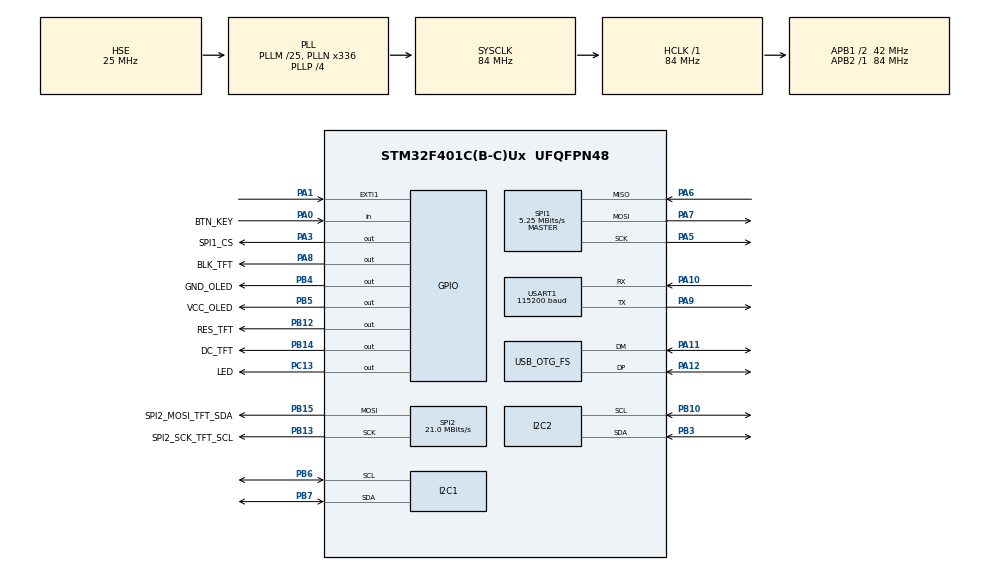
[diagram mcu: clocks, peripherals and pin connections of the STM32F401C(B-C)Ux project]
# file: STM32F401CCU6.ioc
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Dma.I2C1_TX.0.Direction=DMA_MEMORY_TO_PERIPH
Dma.I2C1_TX.0.FIFOMode=DMA_FIFOMODE_DISABLE
Dma.I2C1_TX.0.Instance=DMA1_Stream6
Dma.I2C1_TX.0.MemDataAlignment=DMA_MDATAALIGN_BYTE
Dma.I2C1_TX.0.MemInc=DMA_MINC_ENABLE
Dma.I2C1_TX.0.Mode=DMA_NORMAL
Dma.I2C1_TX.0.PeriphDataAlignment=DMA_PDATAALIGN_BYTE
Dma.I2C1_TX.0.PeriphInc=DMA_PINC_DISABLE
Dma.I2C1_TX.0.Priority=DMA_PRIORITY_LOW
Dma.Request0=I2C1_TX
Dma.Request1=USART1_TX
Dma.USART1_TX.1.Direction=DMA_MEMORY_TO_PERIPH
Dma.USART1_TX.1.FIFOMode=DMA_FIFOMODE_DISABLE
Dma.USART1_TX.1.Instance=DMA2_Stream7
Dma.USART1_TX.1.MemDataAlignment=DMA_MDATAALIGN_BYTE
Dma.USART1_TX.1.MemInc=DMA_MINC_ENABLE
Dma.USART1_TX.1.Mode=DMA_NORMAL
Dma.USART1_TX.1.PeriphDataAlignment=DMA_PDATAALIGN_BYTE
Dma.USART1_TX.1.PeriphInc=DMA_PINC_DISABLE
Dma.USART1_TX.1.Priority=DMA_PRIORITY_MEDIUM
FATFS._CODE_PAGE=855
FATFS._MAX_SS=4096
FATFS._USE_LFN=3
FREERTOS.HEAP_NUMBER=4
FREERTOS.Tasks01=defaultTask,24,512,StartDefaultTask,Default,NULL,Dynamic,NULL,NULL;Task_1ms,24,512,Task_1ms_handler,Default,NULL,Dynamic,NULL,NULL;Task_10ms,24,1024,Task_10ms_handler,Default,NULL,Dynamic,NULL,NULL;Task_50ms,24,512,Task_50ms_handler,Default,NULL,Dynamic,NULL,NULL;Usart1Rx,24,512,Usart1Rx_handler,Default,NULL,Dynamic,NULL,NULL
FREERTOS.configENABLE_FPU=1
FREERTOS.configTOTAL_HEAP_SIZE=16384
FREERTOS.configUSE_NEWLIB_REENTRANT=1
I2C1.DutyCycle=I2C_DUTYCYCLE_16_9
I2C1.I2C_Mode=I2C_Fast
I2C2.I2C_Mode=I2C_Fast
Mcu.Family=STM32F4
Mcu.Name=STM32F401C(B-C)Ux
Mcu.Package=UFQFPN48
NVIC.DMA1_Stream6_IRQn=true\:5\:0\:false\:false\:true\:true\:false\:true
NVIC.DMA2_Stream7_IRQn=true\:5\:0\:false\:false\:true\:true\:false\:true
NVIC.EXTI1_IRQn=true\:5\:0\:false\:true\:true\:1\:true\:true\:true
NVIC.I2C1_ER_IRQn=true\:5\:0\:false\:false\:true\:true\:true\:true
NVIC.I2C1_EV_IRQn=true\:5\:0\:false\:false\:true\:true\:true\:true
NVIC.I2C2_EV_IRQn=true\:5\:0\:false\:false\:true\:true\:true\:true
NVIC.OTG_FS_IRQn=true\:5\:0\:false\:false\:true\:true\:false\:true
NVIC.PriorityGroup=NVIC_PRIORITYGROUP_4
NVIC.SPI2_IRQn=true\:5\:0\:false\:false\:true\:true\:true\:true
NVIC.TIM1_UP_TIM10_IRQn=true\:0\:0\:false\:false\:true\:false\:false\:true
NVIC.TIM2_IRQn=true\:5\:0\:false\:false\:true\:true\:true\:true
NVIC.TimeBase=TIM1_UP_TIM10_IRQn
NVIC.TimeBaseIP=TIM1
NVIC.USART1_IRQn=true\:5\:0\:false\:false\:true\:true\:true\:true
PA0-WKUP.GPIO_Label=BTN_KEY
PA0-WKUP.Signal=GPIO_Input
PA1.Signal=GPXTI1
PA10.Mode=Asynchronous
PA10.Signal=USART1_RX
PA11.Mode=Device_Only
PA11.Signal=USB_OTG_FS_DM
PA12.Mode=Device_Only
PA12.Signal=USB_OTG_FS_DP
PA13.Mode=Serial_Wire
PA13.Signal=SYS_JTMS-SWDIO
PA14.Mode=Serial_Wire
PA14.Signal=SYS_JTCK-SWCLK
PA2.Signal=S_TIM9_CH1
PA3.GPIO_Label=SPI1_CS
PA3.GPIO_Speed=GPIO_SPEED_FREQ_MEDIUM
PA3.Signal=GPIO_Output
PA5.Mode=Full_Duplex_Master
PA5.Signal=SPI1_SCK
PA6.Mode=Full_Duplex_Master
PA6.Signal=SPI1_MISO
PA7.Mode=Full_Duplex_Master
PA7.Signal=SPI1_MOSI
PA8.GPIO_Label=BLK_TFT
PA8.Signal=GPIO_Output
PA9.Mode=Asynchronous
PA9.Signal=USART1_TX
PB10.GPIO_Pu=GPIO_PULLUP
PB10.Mode=I2C
PB10.Signal=I2C2_SCL
PB12.GPIO_Label=RES_TFT
PB12.PinState=GPIO_PIN_SET
PB12.Signal=GPIO_Output
PB13.GPIO_Label=SPI2_SCK_TFT_SCL
PB13.Mode=TX_Only_Simplex_Unidirect_Master
PB13.Signal=SPI2_SCK
PB14.GPIO_Label=DC_TFT
PB14.Signal=GPIO_Output
PB15.GPIO_Label=SPI2_MOSI_TFT_SDA
PB15.Mode=TX_Only_Simplex_Unidirect_Master
PB15.Signal=SPI2_MOSI
PB3.GPIO_Pu=GPIO_PULLUP
PB3.Mode=I2C
PB3.Signal=I2C2_SDA
PB4.GPIO_Label=GND_OLED
PB4.Signal=GPIO_Output
PB5.GPIO_Label=VCC_OLED
PB5.PinState=GPIO_PIN_SET
PB5.Signal=GPIO_Output
PB6.GPIO_Pu=GPIO_PULLUP
PB6.Mode=I2C
PB6.Signal=I2C1_SCL
PB7.GPIO_Pu=GPIO_PULLUP
PB7.Mode=I2C
PB7.Signal=I2C1_SDA
PC13-ANTI_TAMP.GPIO_Label=LED
PC13-ANTI_TAMP.Signal=GPIO_Output
PC14-OSC32_IN.Mode=LSE-External-Oscillator
PC14-OSC32_IN.Signal=RCC_OSC32_IN
PC15-OSC32_OUT.Mode=LSE-External-Oscillator
PC15-OSC32_OUT.Signal=RCC_OSC32_OUT
PH0\ -\ OSC_IN.Mode=HSE-External-Oscillator
PH0\ -\ OSC_IN.Signal=RCC_OSC_IN
PH1\ -\ OSC_OUT.Mode=HSE-External-Oscillator
PH1\ -\ OSC_OUT.Signal=RCC_OSC_OUT
ProjectManager.HeapSize=0x400
ProjectManager.StackSize=0x800
ProjectManager.TargetToolchain=STM32CubeIDE
RCC.48MHZClocksFreq_Value=48000000
RCC.AHBFreq_Value=84000000
RCC.APB1CLKDivider=RCC_HCLK_DIV2
RCC.APB1Freq_Value=42000000
RCC.APB1TimFreq_Value=84000000
RCC.APB2Freq_Value=84000000
RCC.APB2TimFreq_Value=84000000
RCC.CortexFreq_Value=84000000
RCC.HCLKFreq_Value=84000000
RCC.HSE_Timout=1000
RCC.HSE_VALUE=25000000
RCC.HSI_VALUE=16000000
RCC.LSE_Timout=10000
RCC.PLLM=25
RCC.PLLN=336
RCC.PLLP=RCC_PLLP_DIV4
RCC.PLLQ=7
RCC.RCC_RTC_Clock_Source=RCC_RTCCLKSOURCE_HSE_DIV25
RCC.RCC_RTC_Clock_SourceVirtual=RCC_RTCCLKSOURCE_LSE
RCC.RCC_RTC_Clock_Source_FROM_HSE=RCC_RTCCLKSOURCE_HSE_DIV25
RCC.SYSCLKFreq_VALUE=84000000
RCC.SYSCLKSource=RCC_SYSCLKSOURCE_PLLCLK
RCC.VCOOutputFreq_Value=336000000
RTC.Format=RTC_FORMAT_BIN
RTC.SynchPrediv=7777
SH.S_TIM9_CH1.0=TIM9_CH1
SPI1.BaudRatePrescaler=SPI_BAUDRATEPRESCALER_16
SPI1.CalculateBaudRate=5.25 MBits/s
SPI1.Direction=SPI_DIRECTION_2LINES
SPI1.Mode=SPI_MODE_MASTER
SPI1.VirtualType=VM_MASTER
SPI2.BaudRatePrescaler=SPI_BAUDRATEPRESCALER_2
SPI2.CLKPhase=SPI_PHASE_2EDGE
SPI2.CLKPolarity=SPI_POLARITY_HIGH
SPI2.CalculateBaudRate=21.0 MBits/s
SPI2.DataSize=SPI_DATASIZE_8BIT
SPI2.Direction=SPI_DIRECTION_2LINES
SPI2.FirstBit=SPI_FIRSTBIT_MSB
SPI2.Mode=SPI_MODE_MASTER
SPI2.VirtualType=VM_MASTER
TIM2.Period=5
TIM2.Prescaler=41999
USART1.BaudRate=115200
USART1.VirtualMode=VM_ASYNC
USB_DEVICE.CLASS_NAME_FS=CDC
USB_DEVICE.VirtualMode=Cdc
USB_DEVICE.VirtualModeFS=Cdc_FS
USB_OTG_FS.VirtualMode=Device_Only
VP_FATFS_VS_Generic.Mode=User_defined
VP_FREERTOS_VS_CMSIS_V2.Mode=CMSIS_V2
VP_RTC_VS_RTC_Activate.Mode=RTC_Enabled
VP_RTC_VS_RTC_Calendar.Mode=RTC_Calendar
VP_SYS_VS_tim1.Mode=TIM1
VP_TIM2_VS_ClockSourceINT.Mode=Internal
VP_USB_DEVICE_VS_USB_DEVICE_CDC_FS.Mode=CDC_FS
board=custom

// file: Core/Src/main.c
/* USER CODE BEGIN Header */
/**
 ******************************************************************************
 * @file           : main.c
 * @brief          : Main program body
 ******************************************************************************
 * @attention
 *
 * <h2><center>&copy; Copyright (c) 2021 STMicroelectronics.
 * All rights reserved.</center></h2>
 *
 * This software component is licensed by ST under BSD 3-Clause license,
 * the "License"; You may not use this file except in compliance with the
 * License. You may obtain a copy of the License at:
 *                        opensource.org/licenses/BSD-3-Clause
 *
 ******************************************************************************
 */
/* USER CODE END Header */
#include "main.h"
#include "cmsis_os.h"
#include "fatfs.h"
#include "usb_device.h"

/* USER CODE BEGIN Includes */
#include "task.h"
#include "ssd1306.h"
#include "image.h"
#include "stdio.h"
#include "string.h"
#include "math.h"
#include "bmp280.h"
#include "sd.h"
#include "usart_ring.h"
#include "usbd_cdc_if.h"
#include "st7789.h"
/* USER CODE END Includes */

/* USER CODE BEGIN PD */
#define SIZE_BF 32
/* USER CODE END PD */

I2C_HandleTypeDef hi2c1;
I2C_HandleTypeDef hi2c2;
DMA_HandleTypeDef hdma_i2c1_tx;

RTC_HandleTypeDef hrtc;

SPI_HandleTypeDef hspi1;
SPI_HandleTypeDef hspi2;

TIM_HandleTypeDef htim2;

UART_HandleTypeDef huart1;
DMA_HandleTypeDef hdma_usart1_tx;

/* Definitions for defaultTask */
osThreadId_t defaultTaskHandle;
const osThreadAttr_t defaultTask_attributes = {
  .name = "defaultTask",
  .stack_size = 512 * 4,
  .priority = (osPriority_t) osPriorityNormal,
};
/* Definitions for Task_1ms */
osThreadId_t Task_1msHandle;
const osThreadAttr_t Task_1ms_attributes = {
  .name = "Task_1ms",
  .stack_size = 512 * 4,
  .priority = (osPriority_t) osPriorityNormal,
};
/* Definitions for Task_10ms */
osThreadId_t Task_10msHandle;
const osThreadAttr_t Task_10ms_attributes = {
  .name = "Task_10ms",
  .stack_size = 1024 * 4,
  .priority = (osPriority_t) osPriorityNormal,
};
/* Definitions for Task_50ms */
osThreadId_t Task_50msHandle;
const osThreadAttr_t Task_50ms_attributes = {
  .name = "Task_50ms",
  .stack_size = 512 * 4,
  .priority = (osPriority_t) osPriorityNormal,
};
/* Definitions for Usart1Rx */
osThreadId_t Usart1RxHandle;
const osThreadAttr_t Usart1Rx_attributes = {
  .name = "Usart1Rx",
  .stack_size = 512 * 4,
  .priority = (osPriority_t) osPriorityNormal,
};
/* USER CODE BEGIN PV */
uint32_t task1msCnt = 0;
uint32_t task10msCnt = 0;
uint32_t task50msCnt = 0;
uint8_t b1;

_Bool flag, btnPressed;
unsigned long t;
int val;
char* buffer;
uint8_t dataReceived=0;
uint8_t dataTransmitted=0;
int posScanLine = 6;
char* error_mesage = "";
char message[100];
int i = 0;
char* p;

//RTC
RTC_TimeTypeDef sTime = {0};
RTC_DateTypeDef sDate = {0};
char trans_str[64] = {0,};

RTC_TimeTypeDef time;
RTC_DateTypeDef date;
HAL_StatusTypeDef res;
int hour, min, sec,subsec;
int dateRTC, monthRTC, yearRTC, dayOfWeek;

//BMP280
BMP280_HandleTypedef bmp280;
float pressure, temperature, humidity;
uint16_t size;
uint8_t Data[256];
bool bme280p, isForced;

//Универсальная газовая постоянная
float R = 8.31446261815324f;
//Молярная масса воздуха
float M = 28.96f;
//Ускорение свободного падения
float g = 9.8066f;
//Давление на уровне моря
float Po = 760.0f;
float Pmm = 0;
float h = 0;
//Переменная для подсчета ошибок чтения датчика
int errorCount = 0;
//PWM on A0
uint32_t iPWM = 37000;

//Переменные для использования microSD
volatile uint16_t Timer1=0;
//Ответ от СД карты
int sd_answer = 0;
//Масив куда сохраняем данные из блока
uint8_t sect[512];
extern char str1[60];
uint32_t byteswritten,bytesread;
uint8_t result;
extern char USERPath[4]; /* logical drive path */
FATFS SDFatFs;
FATFS *fs;
FIL MyFile;
//Массив для записи на MicroSD
//char buffer1[512] ="Lorem ipsum dolor sit amet, consectetur adipiscing elit. Cras tincidunt, ipsum et ullamcorper fermentum, turpis urna feugiat orci, ac aliquam ligula eros id est. Etiam vitae placerat est. Donec eget mauris odio. Donec nisl ipsum, tincidunt a convallis ut, sagittis et velit. Sed suscipit velit velit, sed tristique lacus tincidunt id. Aliquam ullamcorper nulla nec nunc dictum, eu maximus enim aliquam. Sed eleifend consequat diam non ultrices. Morbi porta quis turpis vitae sodales. Donec a porta urna pharetra.";
uint16_t i_for_SD;
char buf[32] ={};
int len = 0;
int dataFromUART = 0;
FRESULT resWriteFile; //результат выполнения
uint8_t wtext[] = "Hello from STM32!!!";//то что будем писать
uint8_t myTextForWrite[] = "It`s works! Привет!";

//список файлов и каталогов на микросд
FILINFO fileInfo;
char* fn;
DIR dir;
DWORD fre_clust, fre_sect, tot_sect;

//Файл лога
char* logFile = "log.log";
//Переменные для работы со временем
_Bool time_setting_mode = false;
_Bool showingTime = false;
_Bool logOn = false;
typedef struct{
	int year, month, day, hour, min, sec, dayOfWeek;
}TimeForSet;

char temperatureString[50];
char dateTempPlesureString[100];

//кнопка KEY
bool btnKeyState = false;

//USB Virtual COM-port
char str_tx[21];
bool SendToUSBvirtualPort = false;

//переменная для вывода приемного буфера на экран
char lastRX[32] = {0,};

/* USER CODE END PV */

void SystemClock_Config(void);
static void MX_GPIO_Init(void);
static void MX_DMA_Init(void);
static void MX_I2C1_Init(void);
static void MX_USART1_UART_Init(void);
static void MX_RTC_Init(void);
static void MX_I2C2_Init(void);
static void MX_TIM2_Init(void);
static void MX_SPI1_Init(void);
static void MX_SPI2_Init(void);
void StartDefaultTask(void *argument);
void Task_1ms_handler(void *argument);
void Task_10ms_handler(void *argument);
void Task_50ms_handler(void *argument);
void Usart1Rx_handler(void *argument);

static void MX_NVIC_Init(void);

/* USER CODE BEGIN 0 */

/* Usart1Tx function */
void Usart1Tx()
{
	/* USER CODE BEGIN Usart1Tx */

}

int _write(int file, char *ptr, int len)
{
	while (HAL_UART_GetState(&huart1) != HAL_UART_STATE_READY ){

	}
	HAL_UART_Transmit(&huart1, (uint8_t *) ptr, len, HAL_MAX_DELAY);
	return len;
}

/* USER CODE END 0 */

int main(void)
{

  /* MCU Configuration--------------------------------------------------------*/

  /* Reset of all peripherals, Initializes the Flash interface and the Systick. */
  HAL_Init();

  /* Configure the system clock */
  SystemClock_Config();

  /* Initialize all configured peripherals */
  MX_GPIO_Init();
  MX_DMA_Init();
  MX_I2C1_Init();
  MX_USART1_UART_Init();
  MX_RTC_Init();
  MX_I2C2_Init();
  MX_TIM2_Init();
  MX_SPI1_Init();
  MX_FATFS_Init();
  MX_SPI2_Init();

  /* Initialize interrupts */
  MX_NVIC_Init();

  /* Init scheduler */
  osKernelInitialize();

  /* Create the thread(s) */
  /* creation of defaultTask */
  defaultTaskHandle = osThreadNew(StartDefaultTask, NULL, &defaultTask_attributes);

  /* creation of Task_1ms */
  Task_1msHandle = osThreadNew(Task_1ms_handler, NULL, &Task_1ms_attributes);

  /* creation of Task_10ms */
  Task_10msHandle = osThreadNew(Task_10ms_handler, NULL, &Task_10ms_attributes);

  /* creation of Task_50ms */
  Task_50msHandle = osThreadNew(Task_50ms_handler, NULL, &Task_50ms_attributes);

  /* creation of Usart1Rx */
  Usart1RxHandle = osThreadNew(Usart1Rx_handler, NULL, &Usart1Rx_attributes);

  /* Start scheduler */
  osKernelStart();

  /* We should never get here as control is now taken by the scheduler */
  /* Infinite loop */
	while (1)
	{

	}
}

void SystemClock_Config(void)
{
  RCC_OscInitTypeDef RCC_OscInitStruct = {0};
  RCC_ClkInitTypeDef RCC_ClkInitStruct = {0};

  /** Configure the main internal regulator output voltage
  */
  __HAL_RCC_PWR_CLK_ENABLE();
  __HAL_PWR_VOLTAGESCALING_CONFIG(PWR_REGULATOR_VOLTAGE_SCALE2);
  /** Initializes the RCC Oscillators according to the specified parameters
  * in the RCC_OscInitTypeDef structure.
  */
  RCC_OscInitStruct.OscillatorType = RCC_OSCILLATORTYPE_HSE;
  RCC_OscInitStruct.HSEState = RCC_HSE_ON;
  RCC_OscInitStruct.PLL.PLLState = RCC_PLL_ON;
  RCC_OscInitStruct.PLL.PLLSource = RCC_PLLSOURCE_HSE;
  RCC_OscInitStruct.PLL.PLLM = 25;
  RCC_OscInitStruct.PLL.PLLN = 336;
  RCC_OscInitStruct.PLL.PLLP = RCC_PLLP_DIV4;
  RCC_OscInitStruct.PLL.PLLQ = 7;
  if (HAL_RCC_OscConfig(&RCC_OscInitStruct) != HAL_OK)
  {
    Error_Handler();
  }
  /** Initializes the CPU, AHB and APB buses clocks
  */
  RCC_ClkInitStruct.ClockType = RCC_CLOCKTYPE_HCLK|RCC_CLOCKTYPE_SYSCLK
                              |RCC_CLOCKTYPE_PCLK1|RCC_CLOCKTYPE_PCLK2;
  RCC_ClkInitStruct.SYSCLKSource = RCC_SYSCLKSOURCE_PLLCLK;
  RCC_ClkInitStruct.AHBCLKDivider = RCC_SYSCLK_DIV1;
  RCC_ClkInitStruct.APB1CLKDivider = RCC_HCLK_DIV2;
  RCC_ClkInitStruct.APB2CLKDivider = RCC_HCLK_DIV1;

  if (HAL_RCC_ClockConfig(&RCC_ClkInitStruct, FLASH_LATENCY_2) != HAL_OK)
  {
    Error_Handler();
  }
}

/**
  * @brief NVIC Configuration.
  * @retval None
  */
static void MX_NVIC_Init(void)
{
  /* EXTI1_IRQn interrupt configuration */
  HAL_NVIC_SetPriority(EXTI1_IRQn, 5, 0);
  HAL_NVIC_EnableIRQ(EXTI1_IRQn);
}

static void MX_I2C1_Init(void)
{

  hi2c1.Instance = I2C1;
  hi2c1.Init.ClockSpeed = 400000;
  hi2c1.Init.DutyCycle = I2C_DUTYCYCLE_16_9;
  hi2c1.Init.OwnAddress1 = 0;
  hi2c1.Init.AddressingMode = I2C_ADDRESSINGMODE_7BIT;
  hi2c1.Init.DualAddressMode = I2C_DUALADDRESS_DISABLE;
  hi2c1.Init.OwnAddress2 = 0;
  hi2c1.Init.GeneralCallMode = I2C_GENERALCALL_DISABLE;
  hi2c1.Init.NoStretchMode = I2C_NOSTRETCH_DISABLE;
  if (HAL_I2C_Init(&hi2c1) != HAL_OK)
  {
    Error_Handler();
  }

}

static void MX_I2C2_Init(void)
{

  hi2c2.Instance = I2C2;
  hi2c2.Init.ClockSpeed = 400000;
  hi2c2.Init.DutyCycle = I2C_DUTYCYCLE_2;
  hi2c2.Init.OwnAddress1 = 0;
  hi2c2.Init.AddressingMode = I2C_ADDRESSINGMODE_7BIT;
  hi2c2.Init.DualAddressMode = I2C_DUALADDRESS_DISABLE;
  hi2c2.Init.OwnAddress2 = 0;
  hi2c2.Init.GeneralCallMode = I2C_GENERALCALL_DISABLE;
  hi2c2.Init.NoStretchMode = I2C_NOSTRETCH_DISABLE;
  if (HAL_I2C_Init(&hi2c2) != HAL_OK)
  {
    Error_Handler();
  }

}

static void MX_RTC_Init(void)
{

  RTC_TimeTypeDef sTime = {0};
  RTC_DateTypeDef sDate = {0};

  /** Initialize RTC Only
  */
  hrtc.Instance = RTC;
  hrtc.Init.HourFormat = RTC_HOURFORMAT_24;
  hrtc.Init.AsynchPrediv = 127;
  hrtc.Init.SynchPrediv = 7777;
  hrtc.Init.OutPut = RTC_OUTPUT_DISABLE;
  hrtc.Init.OutPutPolarity = RTC_OUTPUT_POLARITY_HIGH;
  hrtc.Init.OutPutType = RTC_OUTPUT_TYPE_OPENDRAIN;
  if (HAL_RTC_Init(&hrtc) != HAL_OK)
  {
    Error_Handler();
  }

  /** Initialize RTC and set the Time and Date
  */
  sTime.Hours = 0;
  sTime.Minutes = 0;
  sTime.Seconds = 0;
  sTime.DayLightSaving = RTC_DAYLIGHTSAVING_NONE;
  sTime.StoreOperation = RTC_STOREOPERATION_RESET;
  if (HAL_RTC_SetTime(&hrtc, &sTime, RTC_FORMAT_BIN) != HAL_OK)
  {
    Error_Handler();
  }
  sDate.WeekDay = RTC_WEEKDAY_MONDAY;
  sDate.Month = RTC_MONTH_JANUARY;
  sDate.Date = 1;
  sDate.Year = 0;

  if (HAL_RTC_SetDate(&hrtc, &sDate, RTC_FORMAT_BIN) != HAL_OK)
  {
    Error_Handler();
  }

}

static void MX_SPI1_Init(void)
{

  /* SPI1 parameter configuration*/
  hspi1.Instance = SPI1;
  hspi1.Init.Mode = SPI_MODE_MASTER;
  hspi1.Init.Direction = SPI_DIRECTION_2LINES;
  hspi1.Init.DataSize = SPI_DATASIZE_8BIT;
  hspi1.Init.CLKPolarity = SPI_POLARITY_LOW;
  hspi1.Init.CLKPhase = SPI_PHASE_1EDGE;
  hspi1.Init.NSS = SPI_NSS_SOFT;
  hspi1.Init.BaudRatePrescaler = SPI_BAUDRATEPRESCALER_16;
  hspi1.Init.FirstBit = SPI_FIRSTBIT_MSB;
  hspi1.Init.TIMode = SPI_TIMODE_DISABLE;
  hspi1.Init.CRCCalculation = SPI_CRCCALCULATION_DISABLE;
  hspi1.Init.CRCPolynomial = 10;
  if (HAL_SPI_Init(&hspi1) != HAL_OK)
  {
    Error_Handler();
  }

}

static void MX_SPI2_Init(void)
{

  /* SPI2 parameter configuration*/
  hspi2.Instance = SPI2;
  hspi2.Init.Mode = SPI_MODE_MASTER;
  hspi2.Init.Direction = SPI_DIRECTION_2LINES;
  hspi2.Init.DataSize = SPI_DATASIZE_8BIT;
  hspi2.Init.CLKPolarity = SPI_POLARITY_HIGH;
  hspi2.Init.CLKPhase = SPI_PHASE_2EDGE;
  hspi2.Init.NSS = SPI_NSS_SOFT;
  hspi2.Init.BaudRatePrescaler = SPI_BAUDRATEPRESCALER_2;
  hspi2.Init.FirstBit = SPI_FIRSTBIT_MSB;
  hspi2.Init.TIMode = SPI_TIMODE_DISABLE;
  hspi2.Init.CRCCalculation = SPI_CRCCALCULATION_DISABLE;
  hspi2.Init.CRCPolynomial = 10;
  if (HAL_SPI_Init(&hspi2) != HAL_OK)
  {
    Error_Handler();
  }

}

static void MX_TIM2_Init(void)
{

  TIM_ClockConfigTypeDef sClockSourceConfig = {0};
  TIM_MasterConfigTypeDef sMasterConfig = {0};

  htim2.Instance = TIM2;
  htim2.Init.Prescaler = 41999;
  htim2.Init.CounterMode = TIM_COUNTERMODE_UP;
  htim2.Init.Period = 5;
  htim2.Init.ClockDivision = TIM_CLOCKDIVISION_DIV1;
  htim2.Init.AutoReloadPreload = TIM_AUTORELOAD_PRELOAD_DISABLE;
  if (HAL_TIM_Base_Init(&htim2) != HAL_OK)
  {
    Error_Handler();
  }
  sClockSourceConfig.ClockSource = TIM_CLOCKSOURCE_INTERNAL;
  if (HAL_TIM_ConfigClockSource(&htim2, &sClockSourceConfig) != HAL_OK)
  {
    Error_Handler();
  }
  sMasterConfig.MasterOutputTrigger = TIM_TRGO_RESET;
  sMasterConfig.MasterSlaveMode = TIM_MASTERSLAVEMODE_DISABLE;
  if (HAL_TIMEx_MasterConfigSynchronization(&htim2, &sMasterConfig) != HAL_OK)
  {
    Error_Handler();
  }

}

static void MX_USART1_UART_Init(void)
{

  huart1.Instance = USART1;
  huart1.Init.BaudRate = 115200;
  huart1.Init.WordLength = UART_WORDLENGTH_8B;
  huart1.Init.StopBits = UART_STOPBITS_1;
  huart1.Init.Parity = UART_PARITY_NONE;
  huart1.Init.Mode = UART_MODE_TX_RX;
  huart1.Init.HwFlowCtl = UART_HWCONTROL_NONE;
  huart1.Init.OverSampling = UART_OVERSAMPLING_16;
  if (HAL_UART_Init(&huart1) != HAL_OK)
  {
    Error_Handler();
  }

}

static void MX_DMA_Init(void)
{

  /* DMA controller clock enable */
  __HAL_RCC_DMA1_CLK_ENABLE();
  __HAL_RCC_DMA2_CLK_ENABLE();

  /* DMA interrupt init */
  /* DMA1_Stream6_IRQn interrupt configuration */
  HAL_NVIC_SetPriority(DMA1_Stream6_IRQn, 5, 0);
  HAL_NVIC_EnableIRQ(DMA1_Stream6_IRQn);
  /* DMA2_Stream7_IRQn interrupt configuration */
  HAL_NVIC_SetPriority(DMA2_Stream7_IRQn, 5, 0);
  HAL_NVIC_EnableIRQ(DMA2_Stream7_IRQn);

}

static void MX_GPIO_Init(void)
{
  GPIO_InitTypeDef GPIO_InitStruct = {0};

  /* GPIO Ports Clock Enable */
  __HAL_RCC_GPIOC_CLK_ENABLE();
  __HAL_RCC_GPIOH_CLK_ENABLE();
  __HAL_RCC_GPIOA_CLK_ENABLE();
  __HAL_RCC_GPIOB_CLK_ENABLE();

  /*Configure GPIO pin Output Level */
  HAL_GPIO_WritePin(LED_GPIO_Port, LED_Pin, GPIO_PIN_RESET);

  /*Configure GPIO pin Output Level */
  HAL_GPIO_WritePin(GPIOA, SPI1_CS_Pin|BLK_TFT_Pin, GPIO_PIN_RESET);

  /*Configure GPIO pin Output Level */
  HAL_GPIO_WritePin(GPIOB, RES_TFT_Pin|VCC_OLED_Pin, GPIO_PIN_SET);

  /*Configure GPIO pin Output Level */
  HAL_GPIO_WritePin(GPIOB, DC_TFT_Pin|GND_OLED_Pin, GPIO_PIN_RESET);

  /*Configure GPIO pin : LED_Pin */
  GPIO_InitStruct.Pin = LED_Pin;
  GPIO_InitStruct.Mode = GPIO_MODE_OUTPUT_PP;
  GPIO_InitStruct.Pull = GPIO_NOPULL;
  GPIO_InitStruct.Speed = GPIO_SPEED_FREQ_LOW;
  HAL_GPIO_Init(LED_GPIO_Port, &GPIO_InitStruct);

  /*Configure GPIO pin : BTN_KEY_Pin */
  GPIO_InitStruct.Pin = BTN_KEY_Pin;
  GPIO_InitStruct.Mode = GPIO_MODE_INPUT;
  GPIO_InitStruct.Pull = GPIO_NOPULL;
  HAL_GPIO_Init(BTN_KEY_GPIO_Port, &GPIO_InitStruct);

  /*Configure GPIO pin : PA1 */
  GPIO_InitStruct.Pin = GPIO_PIN_1;
  GPIO_InitStruct.Mode = GPIO_MODE_IT_RISING;
  GPIO_InitStruct.Pull = GPIO_NOPULL;
  HAL_GPIO_Init(GPIOA, &GPIO_InitStruct);

  /*Configure GPIO pin : PA2 */
  GPIO_InitStruct.Pin = GPIO_PIN_2;
  GPIO_InitStruct.Mode = GPIO_MODE_AF_PP;
  GPIO_InitStruct.Pull = GPIO_NOPULL;
  GPIO_InitStruct.Speed = GPIO_SPEED_FREQ_LOW;
  GPIO_InitStruct.Alternate = GPIO_AF3_TIM9;
  HAL_GPIO_Init(GPIOA, &GPIO_InitStruct);

  /*Configure GPIO pin : SPI1_CS_Pin */
  GPIO_InitStruct.Pin = SPI1_CS_Pin;
  GPIO_InitStruct.Mode = GPIO_MODE_OUTPUT_PP;
  GPIO_InitStruct.Pull = GPIO_NOPULL;
  GPIO_InitStruct.Speed = GPIO_SPEED_FREQ_MEDIUM;
  HAL_GPIO_Init(SPI1_CS_GPIO_Port, &GPIO_InitStruct);

  /*Configure GPIO pins : RES_TFT_Pin DC_TFT_Pin GND_OLED_Pin VCC_OLED_Pin */
  GPIO_InitStruct.Pin = RES_TFT_Pin|DC_TFT_Pin|GND_OLED_Pin|VCC_OLED_Pin;
  GPIO_InitStruct.Mode = GPIO_MODE_OUTPUT_PP;
  GPIO_InitStruct.Pull = GPIO_NOPULL;
  GPIO_InitStruct.Speed = GPIO_SPEED_FREQ_LOW;
  HAL_GPIO_Init(GPIOB, &GPIO_InitStruct);

  /*Configure GPIO pin : BLK_TFT_Pin */
  GPIO_InitStruct.Pin = BLK_TFT_Pin;
  GPIO_InitStruct.Mode = GPIO_MODE_OUTPUT_PP;
  GPIO_InitStruct.Pull = GPIO_NOPULL;
  GPIO_InitStruct.Speed = GPIO_SPEED_FREQ_LOW;
  HAL_GPIO_Init(BLK_TFT_GPIO_Port, &GPIO_InitStruct);

}

/* USER CODE BEGIN 4 */

void vTaskDelayUntil( TickType_t * const pxPreviousWakeTime, const TickType_t xTimeIncrement);

////////////////////////////////////////////////////////////////////////////
// Блок вычисление дня недели из года, месяца и дня. Взято отсюда:
// How to calculate day of the week for RTC?
// https://electronics.stackexchange.com/questions/66285/how-to-calculate-day-of-the-week-for-rtc

/* Возвратит количество дней до начала указанного года, с учетом
 * високосных годов, но без смещения от Юлианского календаря
 * к Грегорианскому. Вместо этого Григореанский календарь
 * экстраполируется обратно во времени к гипотетическому
 * "нулевому" году. */
static int leap (int year)
{
	return year*365 + (year/4) - (year/100) + (year/400);
}

/* Вернет количество дней от 1 марта гипотетического года 0, без учета перехода
 * от Юлианского календаря к Грегорианскому, произошедщему в 16 веке. Алгоритм
 * основан на функции, известной как "Zeller's Congruence".
 * MOD 7 дает день недели, где 0 = понедельник и 6 = воскресенье. */
static int zeller (int year, int month, int day)
{
	year += ((month+9)/12) - 1;
	month = (month+9) % 12;
	return leap (year) + month*30 + ((6*month+5)/10) + day + 1;
}

/* Вернет день недели (1=понедельник, 7=воскресенье) от указанной даты. */
int dow (int year, int month, int day)
{
	return (zeller (year, month, day) % 7) + 1;
}
// Конец блока
////////////////////////////////////////////////////////////////////////////

//Отправка сообщения в UART, в блокируещем режиме
void SendToUART(char message[])
{
	int lenghtM = strlen(message);
	if(SendToUSBvirtualPort)
	{
		CDC_Transmit_FS((uint8_t*)message, lenghtM);
		HAL_Delay(1);
	}
	else
	{
		while (HAL_UART_GetState(&huart1) != HAL_UART_STATE_READY ){}
		HAL_UART_Transmit(&huart1, (uint8_t*)message, lenghtM, 100);
	}
	//HAL_UART_Transmit_DMA(&huart1, (uint8_t*)message, lenghtM-1);
}

//Запись строк в файл (логирование)
void SendToFILE(char* message)
{
	if(f_mount(&SDFatFs,(TCHAR const*)USERPath,0)!=FR_OK)
	{
		Error_Handler();
	}
	else
	{
		HAL_GPIO_WritePin(LED_GPIO_Port, LED_Pin,0);
		if(f_open(&MyFile,logFile, FA_OPEN_ALWAYS|FA_WRITE)!=FR_OK)
		{
			Error_Handler();
		}
		else
		{
			int i = sprintf(dateTempPlesureString, "%d.%d.20%d %02d:%02d:%02d%s%s", dateRTC, monthRTC, yearRTC, hour, min, sec, message, "\r\n");
			if(f_lseek(&MyFile, f_size(&MyFile)) == FR_OK)
			{
				res=f_write(&MyFile,&dateTempPlesureString,i,(void*)&byteswritten);
			}
			if((byteswritten==0)||(resWriteFile!=FR_OK))
			{
				SendToUART("\r\nError write to file log.log\r\n");
				Error_Handler();
			}
			f_close(&MyFile);
		}
	}
	HAL_GPIO_WritePin(LED_GPIO_Port, LED_Pin,1);
}

//Сканер i2c шины
void I2C_Scaner()
{
	printf("\r\nStart scanner I2C bus\r\n");

	for (int i = 0; i < 128; ++i)
	{
		uint16_t address = i << 1;

		if (HAL_I2C_IsDeviceReady(&hi2c1, address, 1, HAL_MAX_DELAY) == HAL_OK)
		{
			printf("Address: 0x%X\r\n", address >> 1);
		}
	}

	printf("End test I2C bus\r\n");

	HAL_Delay(2000);
}

void OLEDview()
{

	//ssd1306_Init();

	/*
	for (int16_t i = 0; i < ssd1306_GetHeight() / 2; i += 2)
	  {
	    ssd1306_DrawRect(i, i, ssd1306_GetWidth() - 2 * i, ssd1306_GetHeight() - 2 * i);
	    ssd1306_UpdateScreen();
	    HAL_Delay(1);
	  }
	 */
	//ssd1306_Fill();
	/*
	if(i >= 100)
	{
		i = 0;
		ssd1306_Clear();
	}
	else
	{
		i++;
	}
	ssd1306_SetCursor(0, 20);
	ssd1306_DrawPixel(i, 0);
	drawProgressBarDemo(i);
	 */
	//string s = ("P: %.2f Pa, T: %.2f C\r\n", pressure, temperature);

	ssd1306_Clear();
	ssd1306_SetCursor((uint8_t)120, (uint8_t)53);
	ssd1306_WriteString("u", Font_7x10);
	ssd1306_UpdateScreen();

	ssd1306_SetCursor(0, 0);
	sprintf(message, "T=%.2f", temperature);
	ssd1306_WriteString(message, Font_7x10);

	ssd1306_SetCursor(0, 16);
	sprintf(message, "P=%.8f", pressure);
	ssd1306_WriteString(message, Font_7x10);

	ssd1306_SetCursor(71, 0);
	sprintf(message, "%02d:%02d:%02d", time.Hours, time.Minutes, time.Seconds);
	ssd1306_WriteString(message, Font_7x10);

	/*
	ssd1306_SetCursor(0, 26);
	sprintf(message, "Pmm=%.8f", Pmm);
	ssd1306_WriteString(message, Font_7x10);

	ssd1306_SetCursor(44, 53);
	sprintf(message, "PWM=%u", iPWM);
	ssd1306_WriteString(message, Font_7x10);

	ssd1306_SetCursor(0, 36);
	sprintf(message, "h=%.2f m", h);
	ssd1306_WriteString(message, Font_7x10);
	 */

	ssd1306_SetCursor(0, 27);
	sprintf(message, "RX:%s", lastRX);
	ssd1306_WriteString(message, Font_7x10);

	ssd1306_SetCursor(0, 38);
	sprintf(message, "TX:%s", "");
	ssd1306_WriteString(message, Font_7x10);
	/*
	if(logOn)
	{
		ssd1306_SetCursor(0, 53);
		ssd1306_WriteString("Log to SD on", Font_7x10);
	}
	else
	{
		ssd1306_SetCursor(0, 53);
		ssd1306_WriteString("Log to SD off", Font_7x10);
	}
	*/

	if(SendToUSBvirtualPort)
	{
			ssd1306_SetCursor(0, 53);
			ssd1306_WriteString("USB", Font_7x10);
		}
		else
		{
			ssd1306_SetCursor(0, 53);
			ssd1306_WriteString("UART", Font_7x10);
		}
	/*
	ssd1306_SetCursor(40, 53);
	sprintf(message, "SDans=%i", sd_answer);
	ssd1306_WriteString(message, Font_7x10);
	 */

	ssd1306_SetCursor(120, 53);
	ssd1306_WriteString(" ", Font_7x10);
	ssd1306_UpdateScreen();

}
//вычисления
void calculate()
{
	Pmm = pressure/133.3224;
	h = (R*temperature)/(M*g)*log(Po/Pmm);
}

void drawProgressBarDemo(int counter)
{
	char str[128];
	// draw the progress bar
	ssd1306_DrawProgressBar(0, 32, 120, 10, counter);

	// draw the percentage as String
	ssd1306_SetCursor(64, 16);
	sprintf(str, "%d", counter);
	ssd1306_WriteString(str, Font_7x10);
	ssd1306_UpdateScreen();
}

void timeRtc()
{
	res = HAL_RTC_GetTime(&hrtc, &time, RTC_FORMAT_BIN);
	if(res != HAL_OK) {
		printf("HAL_RTC_GetTime failed: %d\r\n", res);
		return;
	}
	else
	{
		hour = time.Hours;
		min = time.Minutes;
		sec = time.Seconds;
		subsec = time.SubSeconds;
	}
	res = HAL_RTC_GetDate(&hrtc, &date, RTC_FORMAT_BIN);
	if(res != HAL_OK) {
		printf("HAL_RTC_GetDate failed: %d\r\n", res);
		return;
	}
	else
	{
		dateRTC = date.Date;
		monthRTC = date.Month;
		yearRTC = date.Year;
		dayOfWeek = date.WeekDay;
	}
	if(showingTime)
	{
		int count = sprintf(buf, "%s%d.%d.20%d %02d:%02d:%02d%s","tDate.txt=\"", dateRTC, monthRTC, yearRTC,hour,min, sec,"\"");
		HAL_UART_Transmit(&huart1, (uint8_t*)buf, count, 100);
		HAL_UART_Transmit(&huart1, (uint8_t*)"\xFF\xFF\xFF", 3, 100);

	}
}

void BMP280()
{
	while (!bmp280_read_float(&bmp280, &temperature, &pressure, &humidity))
	{
		//size = sprintf((char *)Data,"failed\r\n");
		//HAL_UART_Transmit(&huart1, Data, size, 1000);
		HAL_Delay(2000);
		errorCount++;
	}
	//printf("Pressure: %f Pa\r\n", pressure);
}

FRESULT ReadLongFile(void)
{
	uint16_t i=0, i1=0;
	uint32_t ind=0;
	//uint32_t f_size = MyFile.fsize();
	uint32_t f_size = f_size(&MyFile);
	sprintf(str1,"\r\nfsize: %lu\r\n",(unsigned long)f_size);
	SendToUART(str1);
	ind=0;

	if(SendToUSBvirtualPort)
	{
	do
	{
		if(f_size<512)
		{
			i1=f_size;
		}
		else
		{
			i1=512;
		}
		f_size-=i1;
		f_lseek(&MyFile,ind);
		f_read(&MyFile,sect,i1,(UINT *)&bytesread);
		for(i=0;i<bytesread;i++)
		{
			CDC_Transmit_FS(sect+i, 1);
		}
		ind+=i1;
	}
	while(f_size>0);
	CDC_Transmit_FS((uint8_t*)"\r\n", 2);
	}
	else
	{
		do
			{
				if(f_size<512)
				{
					i1=f_size;
				}
				else
				{
					i1=512;
				}
				f_size-=i1;
				f_lseek(&MyFile,ind);
				f_read(&MyFile,sect,i1,(UINT *)&bytesread);
				for(i=0;i<bytesread;i++)
				{
					HAL_UART_Transmit(&huart1,sect+i,1,0x1000);

				}
				ind+=i1;
			}
			while(f_size>0);
			HAL_UART_Transmit(&huart1,(uint8_t*)"\r\n",2,0x1000);
	}
	return FR_OK;
}

int RTC_Set(TimeForSet tfs) {
	HAL_StatusTypeDef res;
	RTC_TimeTypeDef time;
	RTC_DateTypeDef date;

	memset(&time, 0, sizeof(time));
	memset(&date, 0, sizeof(date));

	date.WeekDay = dow(tfs.year, tfs.month, tfs.day);
	date.Year = tfs.year;
	date.Month = tfs.month;
	date.Date = tfs.day;

	res = HAL_RTC_SetDate(&hrtc, &date, RTC_FORMAT_BIN);
	if(res != HAL_OK) {
		SendToUART("HAL_RTC_SetDate failed\r\n");
		return -1;
	}

	time.Hours = tfs.hour;
	time.Minutes = tfs.min;
	time.Seconds = tfs.sec;

	res = HAL_RTC_SetTime(&hrtc, &time, RTC_FORMAT_BIN);
	if(res != HAL_OK) {
		SendToUART("HAL_RTC_SetTime failed\r\n");
		return -2;
	}

	return 0;
}

void UserSetTimeRTC(char* mes)
{
	TimeForSet t_for_set;
	showingTime = false;
	SendToUART("_____________________\r\n");
	SendToUART("Setting time and date\r\n");
	SendToUART("_____________________\r\n");
	SendToUART(mes);
	sscanf(mes,"1Y%2dM%2dD%2dh%2dm%2ds%2d",&t_for_set.year,&t_for_set.month,&t_for_set.day,&t_for_set.hour,&t_for_set.min,&t_for_set.sec);
	RTC_Set(t_for_set);
	showingTime = true;
}

void SendToVirtualPort()
{
	sprintf(str_tx,"USB Transmit\r\n");
	CDC_Transmit_FS((unsigned char*)str_tx, strlen(str_tx));
}

void changeUSBorUART()
{
	if(SendToUSBvirtualPort)
	{
		SendToUART("\r\nUART off\r\n");
		SendToUSBvirtualPort=false;
		SendToUART("\r\nUART on\r\n");
	}
	else
	{
		SendToUART("\r\nUART off\r\n");
		SendToUSBvirtualPort=true;
		SendToUART("\r\nUART on\r\n");
	}
}

void ECHO_UART()
{
	if(uart_available()) // есть ли что-то в приёмном буфере, тогда читаем
	{
		char reciveMessage[SIZE_BF] = {0,};
		uint8_t i = 0;

		while(uart_available())
		{
			reciveMessage[i++] = (char)uart_read(); // читаем байт

			if(i == SIZE_BF - 1)
			{
				reciveMessage[i] = '\0';
				break;
			}
		}
		reciveMessage[i] = '\0';
		strcpy(lastRX, reciveMessage);
		//SendToUART(reciveMessage);
		dataFromUART = atoi(reciveMessage);

		switch (dataFromUART){
		case 0://help
			SendToUART("\n\rThere will be a help on the commands :)\n\r");
			break;
		case 1://установка времени
			dataFromUART = 0;
			UserSetTimeRTC(reciveMessage);
			break;
		case 2://мигание светодиодом
			dataFromUART = 0;
			SendToUART("LED!!!\n\r");
			HAL_GPIO_TogglePin(LED_GPIO_Port, LED_Pin);
			break;
		case 3://чтение файла с микросд
			dataFromUART = 0;
			if(f_mount(&SDFatFs,(TCHAR const*)USERPath,0)!=FR_OK)
			{
				Error_Handler();
			}
			else
			{
				if(f_open(&MyFile,"test.txt",FA_READ)!=FR_OK)
				{
					Error_Handler();
				}
				else
				{
					ReadLongFile();
					f_close(&MyFile);
				}
			}
			break;
		case 4://передача времени в юарт (старт/стоп)
			dataFromUART = 0;
			if (showingTime) {
				showingTime = false;
			} else {
				showingTime = true;
			}
			break;
		case 5://чтение файла с микросд
			dataFromUART = 0;
			if(f_mount(&SDFatFs,(TCHAR const*)USERPath,0)!=FR_OK)
			{
				Error_Handler();
			}
			else
			{
				if(f_open(&MyFile,"cb.bmp",FA_READ)!=FR_OK)
				{
					SendToUART("File not exist.");
					//Error_Handler();
				}
				else
				{
					ReadLongFile();
					f_close(&MyFile);
				}
			}
			break;
		case 6://чтение файла с микросд
			dataFromUART = 0;
			if(f_mount(&SDFatFs,(TCHAR const*)USERPath,0)!=FR_OK)
			{
				Error_Handler();
			}
			else
			{
				if(f_open(&MyFile,"island.bmp",FA_READ)!=FR_OK)
				{
					SendToUART("\r\nFile not exist.");
					//Error_Handler();
				}
				else
				{
					ReadLongFile();
					f_close(&MyFile);
				}
			}
			break;
		case 7://запись в файл
			if(f_mount(&SDFatFs,(TCHAR const*)USERPath,0)!=FR_OK)
			{
				Error_Handler();
			}
			else
			{
				if(f_open(&MyFile,"myFile.txt", FA_OPEN_ALWAYS|FA_WRITE)!=FR_OK)
				{
					Error_Handler();
				}
				else
				{
					SendToUART("\r\nBegin write to file myFile.txt\r\n");
					sprintf(temperatureString, "%sT=%.2f%sP=%.8f",";", temperature,";", pressure);
					int i = sprintf(dateTempPlesureString, "%d.%d.20%d %02d:%02d:%02d%s%s", dateRTC, monthRTC, yearRTC, hour, min, sec, temperatureString, "\r\n");
					if(f_lseek(&MyFile, f_size(&MyFile)) == FR_OK)
					{
						res=f_write(&MyFile,&dateTempPlesureString,i,(void*)&byteswritten);
					}
					if((byteswritten==0)||(resWriteFile!=FR_OK))
					{
						SendToUART("\r\nError write to file myFile.txt\r\n");
						Error_Handler();
					}
					f_close(&MyFile);
					SendToUART("\r\nEnd write to file myFile.txt\r\n");
				}
			}
			break;
		case 8://чтение файла с микросд
			dataFromUART = 0;
			if(f_open(&MyFile,"myFile.txt",FA_READ)!=FR_OK)
			{
				SendToUART("\r\nFile not exist.\r\n");
				//Error_Handler();
			}
			else
			{
				ReadLongFile();
				f_close(&MyFile);
			}
			break;
		case 9://отвязать файловую систему
			FATFS_UnLinkDriver(USERPath);
			SendToUART("\r\nFilesystem is unlinked.\r\n");
			break;
		case 10:
			if(f_mount(&SDFatFs,(TCHAR const*)USERPath,0)!=FR_OK)
			{
				Error_Handler();
			}
			else
			{
				result = f_opendir(&dir, "/");
				if (result == FR_OK)
				{
					while(1)
					{
						result = f_readdir(&dir, &fileInfo);
						if (result==FR_OK && fileInfo.fname[0])
						{
							fn = fileInfo.fname;
							SendToUART(fn);
							if(strlen(fn)) HAL_UART_Transmit(&huart1,(uint8_t*)fn,strlen(fn),0x1000);
							else //HAL_UART_Transmit(&huart1,(uint8_t*)fileInfo.fname,strlen((char*)fileInfo.fname),0x1000);
								SendToUART(fileInfo.fname);
							if(fileInfo.fattrib&AM_DIR)
							{
								//HAL_UART_Transmit(&huart1,(uint8_t*)" [DIR]",7,0x1000);
								SendToUART(" [DIR]");
							}
						}
						else break;
						//HAL_UART_Transmit(&huart1,(uint8_t*)"\r\n",2,0x1000);
						SendToUART("\r\n");
					}
					f_getfree("/", &fre_clust, &fs);

					sprintf(str1,"Free cluster: %lu\r\n",fre_clust);

					//HAL_UART_Transmit(&huart1,(uint8_t*)str1,strlen(str1),0x1000);
					SendToUART(str1);

					sprintf(str1,"All cluster (+2): %lu\r\n",fs->n_fatent);

					//HAL_UART_Transmit(&huart1,(uint8_t*)str1,strlen(str1),0x1000);
					SendToUART(str1);

					sprintf(str1,"Cluster size [sectors]: %d\r\n",fs->csize);

					//HAL_UART_Transmit(&huart1,(uint8_t*)str1,strlen(str1),0x1000);
					SendToUART(str1);

					tot_sect = (fs->n_fatent - 2) * fs->csize;

					sprintf(str1,"Total sector: %lu\r\n",tot_sect);

					//HAL_UART_Transmit(&huart1,(uint8_t*)str1,strlen(str1),0x1000);
					SendToUART(str1);
					fre_sect = fre_clust * fs->csize;

					sprintf(str1,"Free sector: %lu\r\n",fre_sect);

					//HAL_UART_Transmit(&huart1,(uint8_t*)str1,strlen(str1),0x1000);
					SendToUART(str1);
					sprintf(str1, "%lu KB total drive space.\r\n%lu KB available.\r\n",

							fre_sect/2, tot_sect/2);

					//HAL_UART_Transmit(&huart1,(uint8_t*)str1,strlen(str1),0x1000);
					SendToUART(str1);
					f_closedir(&dir);
				}
			}
			break;
		case 11:
			if(logOn)
			{
				logOn = false;
				SendToUART("\r\nLogging to SD - OFF\r\n");
			}
			else
			{
				logOn = true;
				SendToUART("\r\nLogging to SD - ON\r\n");
			}
			break;
		case 12:
			NVIC_SystemReset();
			break;
		case 13://чтение файла с микросд
			dataFromUART = 0;
			if(f_mount(&SDFatFs,(TCHAR const*)USERPath,0)!=FR_OK)
			{
				Error_Handler();
			}
			else
			{
				if(f_open(&MyFile,logFile,FA_READ)!=FR_OK)
				{
					//Error_Handler();
				}
				else
				{
					ReadLongFile();
					f_close(&MyFile);
				}
			}
			break;
		case 14:
			SendToVirtualPort();
			break;
		case 15:
			changeUSBorUART();
			break;
		default://дефолтно, ничего не делать
			break;
		}

	}
}

void SendToLog()
{
	sprintf(temperatureString, "%sT=%.2f%sP=%.8f",";", temperature,";", pressure);
	SendToFILE(temperatureString);
}

void KeyEvent()
{
	if(HAL_GPIO_ReadPin(BTN_KEY_GPIO_Port, BTN_KEY_Pin) == GPIO_PIN_SET)
			{
				HAL_GPIO_WritePin(LED_GPIO_Port, LED_Pin, GPIO_PIN_RESET);
			}
}

void Test_TFT()
{

	  ST7789_Init(240, 240);
	  ST7789_FillScreen(BLACK);
	  ST7789_SetBL(100);
	  uint16_t color = RGB565(255, 0, 0);
	  ST7789_DrawCircle(119, 119, 10, color);
	  ST7789_DrawCircle(119, 119, 20, color);
	  ST7789_DrawCircle(119, 119, 30, color);
	  ST7789_DrawCircle(119, 119, 40, color);
	  ST7789_DrawCircle(119, 119, 50, color);
	  ST7789_DrawLine(0, 119, 239, 119, color);
	  ST7789_DrawLine(119, 0, 119, 239,color);
	  HAL_Delay(3000);

	// Тест вывода основных цветов
	    ST7789_FillScreen(BLACK);
	    ST7789_SetBL(100);

	    color = RGB565(255, 0, 0);
	    ST7789_FillScreen(color);
	    HAL_Delay(500);

	    color = RGB565(0, 255, 0);
	    ST7789_FillScreen(color);
	    HAL_Delay(500);

	    color = RGB565(50, 55, 50);
	    ST7789_FillScreen(color);
	    HAL_Delay(500);

	    color = RGB565(0, 0, 255);
	    ST7789_FillScreen(color);
	    HAL_Delay(500);

	    color = RGB565(255, 255, 0);
	    ST7789_FillScreen(color);
	    HAL_Delay(500);

	    color = RGB565(255, 0, 255);
	    ST7789_FillScreen(color);
	    HAL_Delay(500);

	    color = RGB565(0, 255, 255);
	    ST7789_FillScreen(color);
	    HAL_Delay(500);

	    color = RGB565(255, 255, 255);
	    ST7789_FillScreen(color);
	    HAL_Delay(500);

	    ST7789_FillScreen(BLACK);
	    ST7789_SetBL(100);

			for (uint8_t y = 0; y<240 ; y++) {
				ST7789_DrawLine(120, 120, 239, y, RGB565(y+10, 0, 0));
			}

			for (uint8_t x = 0; x<240 ; x++) {
				ST7789_DrawLine(120, 120, x, 239, RGB565(0, x+10, 0));
			}

			for (uint8_t y = 0; y<240 ; y++) {
				ST7789_DrawLine(120, 120, 0, y, RGB565(0, 0, y+10));
			}

			for (uint8_t x = 0; x<240 ; x++) {
				ST7789_DrawLine(120, 120, x, 0, RGB565(x+10, x+10, x+10));
			}
	    HAL_Delay(1000);

	    ST7789_FillScreen(BLACK);
	    ST7789_SetBL(100);

	    for (uint8_t x = 0; x < 240 ; x = x + 20) {
				for (uint8_t y = 0; y < 240; y = y + 20) {
					ST7789_DrawRectangleFilled(x + 3, y + 3, x + 17, y + 17, RGB565(x, y, 0));
					ST7789_DrawRectangle(x + 2, y + 2, x + 19, y + 19, RGB565(250, 250, 250));
				}
			}
	    HAL_Delay(1000);

	    ST7789_FillScreen(BLACK);
	    ST7789_SetBL(100);

	    for (uint8_t x = 0; x < 240 ; x = x + 20) {
				for (uint8_t y = 0; y < 240; y = y + 20) {
	        ST7789_DrawCircleFilled(x + 10, y + 10, 8, RGB565(x, y, 0));
	        ST7789_DrawCircle(x + 10, y + 10, 9, RGB565(0, y, x));
				}
			}
	    HAL_Delay(1000);

	    ST7789_FillScreen(BLACK);
	    ST7789_SetBL(100);
	}

/* USER CODE END 4 */

void StartDefaultTask(void *argument)
{
  /* init code for USB_DEVICE */
  MX_USB_DEVICE_Init();
  /* USER CODE BEGIN 5 */
	__HAL_UART_ENABLE_IT(&MYUART, UART_IT_RXNE); // включить прерывания usart'a
	//Init OLED display

	len = sprintf(buf, "%s", "System started.\r\n");
	HAL_UART_Transmit(&huart1, (uint8_t*)buf, len, 100);

	//Init_SD
	HAL_TIM_Base_Start_IT(&htim2);
	osDelay(200);
	//SD_PowerOn();
	//sd_answer = sd_ini();
	//len = sprintf(buf, "%s%d%s", "sd_ini=",sd_answer,"\r\n");
	//SendToUART(buf);
	disk_initialize(SDFatFs.drv);

	//read
	/*
	if(f_mount(&SDFatFs,(TCHAR const*)USERPath,0)!=FR_OK)
	{
		Error_Handler();
	}
	else
	{
		if(f_open(&MyFile,"test.txt",FA_READ)!=FR_OK)
		{
			//Error_Handler();
		}
		else
		{
			ReadLongFile();
			f_close(&MyFile);
		}
	}
	 */

	//write
	/*
	if(f_mount(&SDFatFs,(TCHAR const*)USERPath,0)!=FR_OK)
	{
	  Error_Handler();
	}
	else
	{
	  if(f_open(&MyFile,"mywrite.txt",FA_CREATE_ALWAYS|FA_WRITE)!=FR_OK)
	  {
	    Error_Handler();
	  }
	  else
	  {
	    res=f_write(&MyFile,wtext,sizeof(wtext),(void*)&byteswritten);
	    if((byteswritten==0)||(resWriteFile!=FR_OK))
	    {
	    	Error_Handler();
	    }
	    f_close(&MyFile);
	  }
	}
	 */

	//read dir
	/*
	if(f_mount(&SDFatFs,(TCHAR const*)USERPath,0)!=FR_OK)
	{
	  Error_Handler();
	}
	else
	{
		result = f_opendir(&dir, "/");
		if (result == FR_OK)
		{
			while(1)
			{
				result = f_readdir(&dir, &fileInfo);
				if (result==FR_OK && fileInfo.fname[0])
				{
					fn = fileInfo.fname;
					if(strlen(fn)) HAL_UART_Transmit(&huart1,(uint8_t*)fn,strlen(fn),0x1000);
					else HAL_UART_Transmit(&huart1,(uint8_t*)fileInfo.fname,strlen((char*)fileInfo.fname),0x1000);
					if(fileInfo.fattrib&AM_DIR)
					{
						HAL_UART_Transmit(&huart1,(uint8_t*)" [DIR]",7,0x1000);
					}
				}
				else break;
				HAL_UART_Transmit(&huart1,(uint8_t*)"\r\n",2,0x1000);
			}
			f_closedir(&dir);
		}
	}
	 */

	/* Infinite loop */
	for(;;)
	{
		osDelay(1);
	}
  /* USER CODE END 5 */
}

void Task_1ms_handler(void *argument)
{
  /* USER CODE BEGIN Task_1ms_handler */
	TickType_t xLastWakeTime;
	const TickType_t xFrequency = 1 / portTICK_PERIOD_MS;
	xLastWakeTime = xTaskGetTickCount();

	//Init BMP280
	bmp280_init_default_params(&bmp280.params);
	bmp280.addr = BMP280_I2C_ADDRESS_0;
	bmp280.i2c = &hi2c2;
	bmp280.params.mode = BMP280_MODE_NORMAL;
	bmp280.params.filter = BMP280_FILTER_OFF;
	bmp280.params.standby = BMP280_STANDBY_125;
	bmp280.params.oversampling_pressure = BMP280_STANDARD;
	bmp280.params.oversampling_temperature = BMP280_STANDARD;

	while (!bmp280_init(&bmp280, &bmp280.params)) {
		size = sprintf((char *)Data, "BMP280 initialization failed\n");
		HAL_UART_Transmit(&huart1, Data, size, 1000);
		HAL_Delay(2000);
	}
	//HAL_Delay(1000);
	//HAL_GPIO_WritePin(LED_GPIO_Port, LED_Pin,1);
	/* Infinite loop */
	for(;;)
	{
		if (task1msCnt >= 2000)
		{

			//timeRtc();
			//HAL_GPIO_WritePin(LED_GPIO_Port, LED_Pin,1);

			//I2C_Scaner();
			BMP280();
			//OLEDview();
			Test_TFT();
			task1msCnt = 0;
			//HAL_GPIO_WritePin(LED_GPIO_Port, LED_Pin,0);

		}

		task1msCnt++;
		vTaskDelayUntil(&xLastWakeTime, xFrequency);
	}
  /* USER CODE END Task_1ms_handler */
}

void Task_10ms_handler(void *argument)
{
  /* USER CODE BEGIN Task_10ms_handler */
	TickType_t xLastWakeTime;
	const TickType_t xFrequency = 10 / portTICK_PERIOD_MS;
	xLastWakeTime = xTaskGetTickCount();

	ssd1306_Init();
	ssd1306_SetColor(White);
	ssd1306_FlipScreenVertically();

	osDelay(100);

	/* Infinite loop */
	for(;;)
	{
		if (task10msCnt == 10)
		{
			//timeRtc();
			//HAL_GPIO_WritePin(LED_GPIO_Port, LED_Pin,1);
			//I2C_Scaner();
			//BMP280();
			OLEDview();
			task10msCnt = 0;
			//HAL_GPIO_WritePin(LED_GPIO_Port, LED_Pin,0);
		}
		task10msCnt++;
		vTaskDelayUntil(&xLastWakeTime, xFrequency);
	}
  /* USER CODE END Task_10ms_handler */
}

void Task_50ms_handler(void *argument)
{
  /* USER CODE BEGIN Task_50ms_handler */
	TickType_t xLastWakeTime;
	const TickType_t xFrequency = 50 / portTICK_PERIOD_MS;
	xLastWakeTime = xTaskGetTickCount();

	/* Infinite loop */
	for(;;)
	{
		ECHO_UART();
		if (task50msCnt == 20)
		{

			timeRtc();

			if(logOn)
			{
				SendToLog();
			}

			task50msCnt = 0;
		}
		KeyEvent();
		task50msCnt++;
		vTaskDelayUntil(&xLastWakeTime, xFrequency);
	}
  /* USER CODE END Task_50ms_handler */
}

void Usart1Rx_handler(void *argument)
{
	for(;;)
	{
		osDelay(1);
	}
}

void HAL_TIM_PeriodElapsedCallback(TIM_HandleTypeDef *htim)
{
  if (htim->Instance == TIM1) {
    HAL_IncTick();
  }
  /* USER CODE BEGIN Callback 1 */
	if(htim==&htim2){
		Timer1++;
	}
  /* USER CODE END Callback 1 */
}

void Error_Handler(void)
{
	__disable_irq();
	while (1)
	{
	}
}
